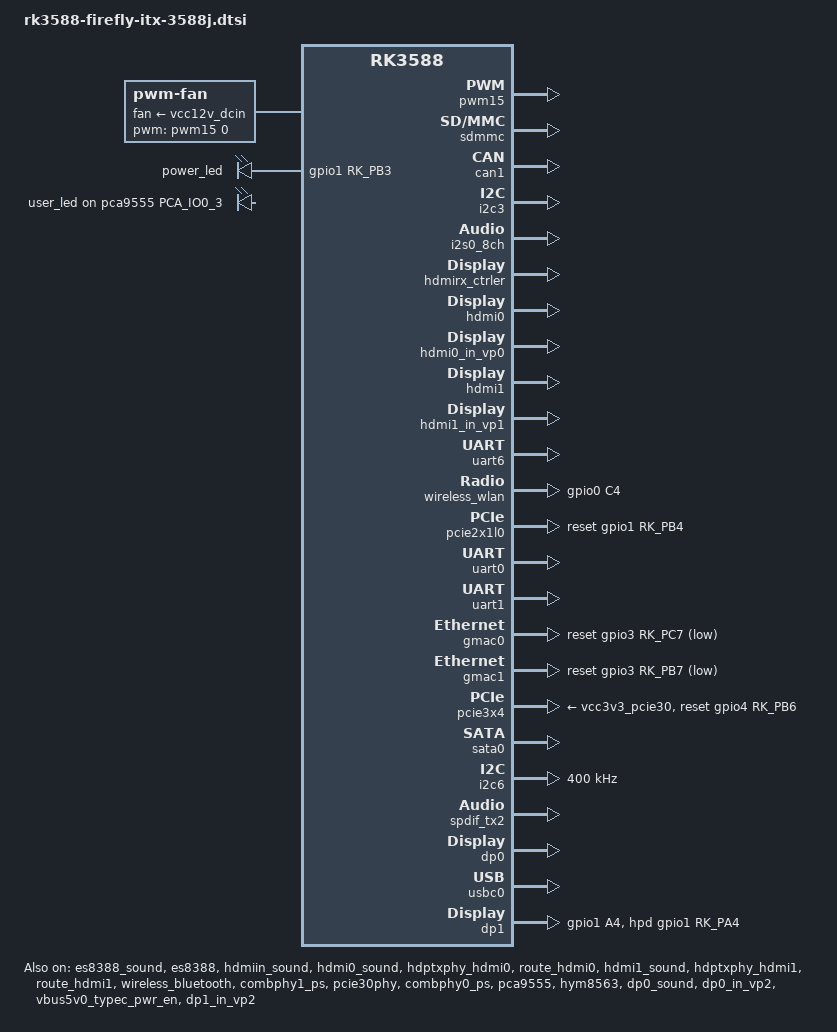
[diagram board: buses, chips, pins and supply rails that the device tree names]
// SPDX-License-Identifier: (GPL-2.0+ OR MIT)
/*
 * Copyright (c) 2021 Rockchip Electronics Co., Ltd.
 *
 */
 
 #define rk3588
 #include "rk3588-firefly-port.dtsi"
 #include "rk3588-diff.dtsi"

 / {
	chosen: chosen {
		bootargs = "earlycon=uart8250,mmio32,0xfeb50000 console=ttyFIQ0 irqchip.gicv3_pseudo_nmi=0 root=PARTLABEL=rootfs rootfstype=ext4 rw rootwait coherent_pool=1m systemd.gpt_auto=0 cgroup_enable=memory swapaccount=1";
	};
	//ver v1.1 support
	fan: pwm-fan {
		compatible = "pwm-fan";
		#cooling-cells = <2>;
		fan-supply = <&vcc12v_dcin>;
		pwms = <&pwm15 0 50000 1>;
	};
};

/* led */
&firefly_leds{
	pinctrl-names = "default";
	pinctrl-0 =<&leds_gpio>;
};

&power_led{
	gpios = <&gpio1 RK_PB3 GPIO_ACTIVE_HIGH>;
};

&user_led{
	gpios = <&pca9555 PCA_IO0_3 GPIO_ACTIVE_HIGH>;
};

/* FAN */
&vcc_fan_pwr_en{
	status = "okay";
	gpio = <&pca9555 PCA_IO1_3 GPIO_ACTIVE_HIGH>;  //PCA_IO 13
};

//ver v1.1 support
&pwm15 {
	pinctrl-0 = <&pwm15m2_pins>;
	status = "okay";
};


/* tf-card */
&sdmmc {
	status = "okay";
};

&vcc_sdcard_pwr_en{
	gpio = <&pca9555 PCA_IO1_5 GPIO_ACTIVE_HIGH>;  //PCA_IO 15
	status = "okay";
};

/* can1 */
&can1 {
	status = "okay";
	assigned-clocks = <&cru CLK_CAN1>;
	assigned-clock-rates = <200000000>;
	pinctrl-names = "default";
	pinctrl-0 = <&can1m1_pins>;
};

/* es8323 audio codec */
&i2c3 {
	status = "okay";
};

&es8388_sound{
	firefly,not-use-dapm;
	status = "okay";
};

&es8388{
	status = "okay";
};

&i2s0_8ch{
	status = "okay";
};

/* hdmi rx */
&hdmiin_sound{
	status = "okay";
};

&hdmirx_ctrler {
	status = "okay";
	hpd-trigger-level = <1>;
	hdmirx-det-gpios = <&gpio1 RK_PD5 GPIO_ACTIVE_LOW>;
};

/* hdmi0 */
&hdmi0 {
	enable-gpios = <&gpio4 RK_PA0 GPIO_ACTIVE_HIGH>;
	status = "okay";
};

&hdmi0_in_vp0 {
	status = "okay";
};

&hdmi0_sound {
	status = "okay";
};

&hdptxphy_hdmi0 {
	status = "okay";
};

&route_hdmi0{
	status = "okay";
};

/* hdmi1 */
&hdmi1 {
	enable-gpios = <&gpio4 RK_PB2 GPIO_ACTIVE_HIGH>;
	status = "okay";
};

&hdmi1_sound {
	status = "okay";
};

&hdmi1_in_vp1 {
        status = "okay";
};

&hdptxphy_hdmi1 {
	status = "okay";
};

&route_hdmi1{
	status = "okay";
	connect = <&vp1_out_hdmi1>;
};

/*ap6275 : bluetooth*/
&wireless_bluetooth{
	status = "okay";
};

&uart6 {
	pinctrl-names = "default";
	pinctrl-0 = <&uart6m1_xfer &uart6m1_ctsn>;
	status = "okay";
};

/* ap6275 : wifi */
&wireless_wlan{
	wifi_chip_type = "ap6275p";
	pinctrl-0 = <&wifi_poweren_gpio>;
	/delete-property/ WIFI,host_wake_irq; 
	status = "okay";
};

&combphy1_ps {
	status = "okay";
};

&pcie2x1l0 {
	reset-gpios = <&gpio1 RK_PB4 GPIO_ACTIVE_HIGH>;
	rockchip,skip-scan-in-resume;
	status = "okay";
};

/* uart/232/485 */
&uart0{
	pinctrl-0 = <&uart0m2_xfer>;
	status = "okay";
};

&uart1{
	pinctrl-0 = <&uart1m1_xfer>;
	status = "okay";
};

/* gamc0 */
&gmac0 {
	snps,reset-gpio = <&gpio3 RK_PC7 GPIO_ACTIVE_LOW>;
	tx_delay = <0x45>;
	status = "okay";
};

&gmac0_tx_bus2{
    rockchip,pins =
    /* gmac0_txd0 */
    <2 RK_PB6 1 &pcfg_pull_up_drv_level_6>,
    /* gmac0_txd1 */
    <2 RK_PB7 1 &pcfg_pull_up_drv_level_6>,
    /* gmac0_txen */
    <2 RK_PC0 1 &pcfg_pull_none>;
};

&gmac0_rgmii_bus{
	rockchip,pins =
	/* gmac0_rxd2 */
	<2 RK_PA6 1 &pcfg_pull_none>,
	/* gmac0_rxd3 */
	<2 RK_PA7 1 &pcfg_pull_none>,
	/* gmac0_txd2 */
	<2 RK_PB1 1 &pcfg_pull_up_drv_level_6>,
	/* gmac0_txd3 */
	<2 RK_PB2 1 &pcfg_pull_up_drv_level_6>;
};

/* gmac1 */
&gmac1 {
	snps,reset-gpio = <&gpio3 RK_PB7 GPIO_ACTIVE_LOW>;
	tx_delay = <0x42>;
	status = "okay";
};

&gmac1_tx_bus2{
	rockchip,pins =
	/* gmac1_txd0 */
	<3 RK_PB3 1 &pcfg_pull_up_drv_level_6>,
    /* gmac1_txd1 */
	<3 RK_PB4 1 &pcfg_pull_up_drv_level_6>,
	/* gmac1_txen */
	<3 RK_PB5 1 &pcfg_pull_none>;
};

&gmac1_rgmii_bus{
	rockchip,pins =
	/* gmac1_rxd2 */
	<3 RK_PA2 1 &pcfg_pull_none>,
	/* gmac1_rxd3 */
	<3 RK_PA3 1 &pcfg_pull_none>,
	/* gmac1_txd2 */
	<3 RK_PA0 1 &pcfg_pull_up_drv_level_6>,
	/* gmac1_txd3 */
	<3 RK_PA1 1 &pcfg_pull_up_drv_level_6>;
};

/* pcie3.0 x 4 slot */
&pcie30phy {
	status = "okay";
};

&pcie3x4 {
	reset-gpios = <&gpio4 RK_PB6 GPIO_ACTIVE_HIGH>;
	vpcie3v3-supply = <&vcc3v3_pcie30>;
	status = "okay";
};

&vcc3v3_pcie30{
	gpios = <&gpio2 RK_PC5 GPIO_ACTIVE_HIGH>;
	startup-delay-us = <5000>;
	status = "okay";
};

/* sata pm */
&combphy0_ps {
	status = "okay";
};

&sata0 {
	status = "okay";
};

&vcc_sata_pwr_en{
	status = "okay";
	gpio = <&pca9555 PCA_IO1_2 GPIO_ACTIVE_HIGH>;  //PCA_IO 12
};

/* usb power */
&vcc5v0_host{
	gpio = <&pca9555 PCA_IO0_5 GPIO_ACTIVE_HIGH>;
	vin-supply = <&vcc5v0_usb>;
	status = "okay";
};

&vcc_hub_reset{
	status = "okay"; 
	gpio = <&pca9555 PCA_IO0_4 GPIO_ACTIVE_HIGH>;  //PCA_IO 04
};

&vcc_hub3_reset{
	status = "okay";
	gpio = <&pca9555 PCA_IO0_6 GPIO_ACTIVE_HIGH>;  //PCA_IO 06
};

&vcc5v0_host3{
	gpio = <&pca9555 PCA_IO0_7 GPIO_ACTIVE_HIGH>;  //PCA_IO 07
	status = "okay";
};

/* i2c6 */
&i2c6 {
	clock-frequency = <400000>; // For others Display Port Screen
	status = "okay";
};

/* pca9555 */
&pca9555{ 
	status = "okay"; 
};

/* rtc */
&hym8563{
	interrupt-parent = <&gpio0>;
	interrupts = <RK_PB0 IRQ_TYPE_LEVEL_LOW>;
	status = "okay";
};

/* display port0 */
&spdif_tx2{
	status = "okay";
};

&dp0_sound{
	status = "okay";
};

&dp0 {
	status = "okay";
};

&dp0_in_vp2 {
	status = "okay";
};

&usbc0{
	status = "okay";
	interrupt-parent = <&gpio0>;
	interrupts = <RK_PD3 IRQ_TYPE_LEVEL_LOW>;
};

&vbus5v0_typec_pwr_en{
	status = "okay";
	gpio = <&pca9555 PCA_IO1_4 GPIO_ACTIVE_HIGH>;  //PCA_IO 14
};

/* display port1 to vga */
&dp1_in_vp2 {
	status = "okay";
};

&dp1 {
	pinctrl-names = "default";
	pinctrl-0 = <&dp1_hpd>;
	hpd-gpios = <&gpio1 RK_PA4 GPIO_ACTIVE_HIGH>;
	status = "okay";
};
&route_dp1{
	status = "disabled";
	connect = <&vp2_out_dp1>;
};

/* pinctrl */
&pinctrl {

	dp {
		dp1_hpd: dp1-hpd {
			 rockchip,pins = <1 RK_PA4 RK_FUNC_GPIO &pcfg_pull_none>;
		};
	};

	leds {
		leds_gpio: leds-gpio {
			/* led_power */
			rockchip,pins = <1 11 RK_FUNC_GPIO &pcfg_pull_none>;
		};
 	};

	hdmirx {
		hdmirx_det: hdmirx-det {
			rockchip,pins = <1 RK_PD5 RK_FUNC_GPIO &pcfg_pull_up>;
		};
	};

	headphone {
		hp_det: hp-det {
			rockchip,pins = <1 RK_PC4 RK_FUNC_GPIO &pcfg_pull_none>;
		};
	};

	hym8563 {
		hym8563_int: hym8563-int {
			rockchip,pins = <0 RK_PB0 RK_FUNC_GPIO &pcfg_pull_up>;
		};
	};

	lcd {
		lcd_rst_gpio: lcd-rst-gpio {
			rockchip,pins = <2 RK_PB4 RK_FUNC_GPIO &pcfg_pull_none>;
		};
	};

	touch {
		touch_gpio: touch-gpio {
			rockchip,pins =
				<0 RK_PD5 RK_FUNC_GPIO &pcfg_pull_up>,
				<0 RK_PC6 RK_FUNC_GPIO &pcfg_pull_none>;
		};
	};

	usb-typec { 
		usbc0_int: usbc0-int { 
			rockchip,pins = <0 RK_PD3 RK_FUNC_GPIO &pcfg_pull_up>; 
		}; 
	};

	wireless-bluetooth {
		uart6_gpios: uart6-gpios {
			rockchip,pins = <1 RK_PA2 RK_FUNC_GPIO &pcfg_pull_none>;
		};

		bt_reset_gpio: bt-reset-gpio {
			rockchip,pins = <0 RK_PC6 RK_FUNC_GPIO &pcfg_pull_none>;
		};

		bt_wake_gpio: bt-wake-gpio {
			rockchip,pins = <0 RK_PC5 RK_FUNC_GPIO &pcfg_pull_none>;
		};

		bt_irq_gpio: bt-irq-gpio {
			rockchip,pins = <0 RK_PA0 RK_FUNC_GPIO &pcfg_pull_down>;
		};
	};

	wireless-wlan {
		wifi_host_wake_irq: wifi-host-wake-irq {
			rockchip,pins = <0 RK_PB2 RK_FUNC_GPIO &pcfg_pull_down>;
		};

		wifi_poweren_gpio: wifi-poweren-gpio {
			rockchip,pins = <0 RK_PC4 RK_FUNC_GPIO &pcfg_pull_up>;
		};
	};
};

// for fan when deep sleep
&vdd_log_s0{
       regulator-state-mem {
               regulator-on-in-suspend;
               regulator-suspend-microvolt = <750000>;
       };
};

&avcc_1v8_s0{
       regulator-state-mem {
               regulator-on-in-suspend;
       };
};

&vcc_1v8_s0{
       regulator-state-mem {
               regulator-on-in-suspend;
               regulator-suspend-microvolt = <1800000>;
       };
};

&rockchip_suspend{
       rockchip,sleep-mode-config = <
         (0
         | RKPM_SLP_ARMOFF_DDRPD
         )
       >;
};
